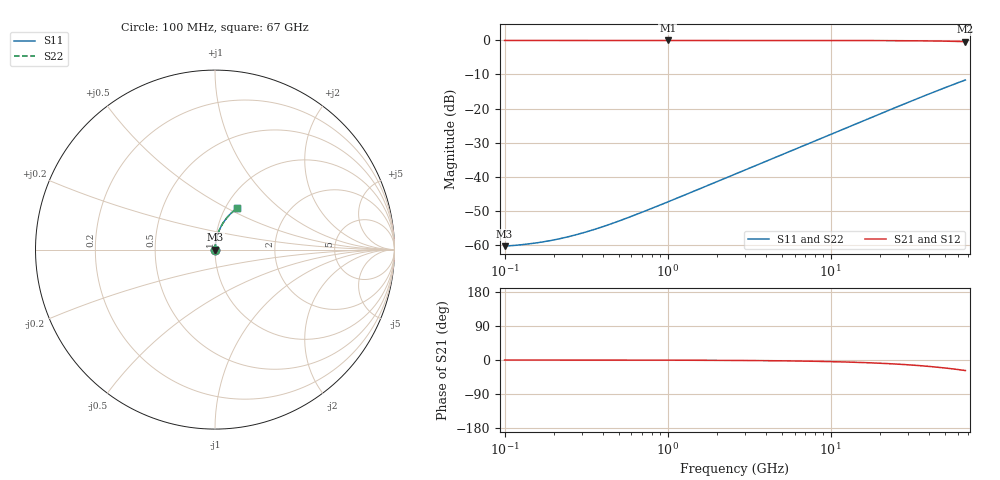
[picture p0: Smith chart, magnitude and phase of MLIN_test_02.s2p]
! Touchstone Ver. 1.0
! Number of ports is 2
# Hz  S RI  R  50
! SCATTERING PARAMETERS  :
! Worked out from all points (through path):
!   284 points, 100 MHz to 67 GHz, reference 50 ohm
!   highest |S21| = -0.01 dB at 1 GHz (marker M1); lowest = -0.3 dB at 67 GHz (marker M2)
!   group delay of S21, straight-line fit = 1.16 ps
!   lowest |S11| = -60.4 dB at 100 MHz (marker M3), VSWR 1.00, Z = 50.1 + j0.0419 ohm
!   |S11| at or under -10 dB: start of sweep to end of sweep
!   |S22| runs from -60.4 to -11.6 dB; largest |S21 - S12| = 0
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1e8  0.000856 0.000418  0.9991 -0.000743  0.9991 -0.000743  0.000856 0.000418
1.348963e8  0.000846 0.000564  0.9992 -0.001  0.9992 -0.001  0.000846 0.000564
1.778279e8  0.000833 0.000744  0.9992 -0.00132  0.9992 -0.00132  0.000833 0.000744
2.290868e8  0.000817 0.000959  0.9992 -0.0017  0.9992 -0.0017  0.000817 0.000959
3.019952e8  0.000795 0.00126  0.9992 -0.00224  0.9992 -0.00224  0.000795 0.00126
3.801894e8  0.000772 0.00159  0.9992 -0.00283  0.9992 -0.00283  0.000772 0.00159
4.897788e8  0.000741 0.00205  0.9993 -0.00364  0.9993 -0.00364  0.000741 0.00205
6.456542e8  0.000728 0.0027  0.9993 -0.0048  0.9993 -0.0048  0.000728 0.0027
8.912509e8  0.000715 0.00373  0.9993 -0.00662  0.9993 -0.00662  0.000715 0.00373
1e9  0.00071 0.00419  0.9993 -0.00743  0.9993 -0.00743  0.00071 0.00419
2.630268e9  0.000996 0.011  0.9989 -0.0195  0.9989 -0.0195  0.000996 0.011
4.786301e9  0.00163 0.02  0.9982 -0.0355  0.9982 -0.0355  0.00163 0.02
7.762471e9  0.003 0.0324  0.9966 -0.0576  0.9966 -0.0576  0.003 0.0324
1.047129e10  0.00472 0.0435  0.9946 -0.0775  0.9946 -0.0775  0.00472 0.0435
1.380384e10  0.00738 0.0572  0.9915 -0.102  0.9915 -0.102  0.00738 0.0572
1.778279e10  0.0114 0.0732  0.9868 -0.1309  0.9868 -0.1309  0.0114 0.0732
2.290868e10  0.0179 0.0934  0.9791 -0.1678  0.9791 -0.1678  0.0179 0.0934
3.162278e10  0.0323 0.1263  0.9621 -0.229  0.9621 -0.229  0.0323 0.1263
4.265795e10  0.056 0.1644  0.934 -0.303  0.934 -0.303  0.056 0.1644
5.370318e10  0.0849 0.1978  0.8993 -0.3723  0.8993 -0.3723  0.0849 0.1978
6.025596e10  0.1041 0.2151  0.8759 -0.4109  0.8759 -0.4109  0.1041 0.2151
6.7e10  0.1252 0.2308  0.8501 -0.4486  0.8501 -0.4486  0.1252 0.2308
